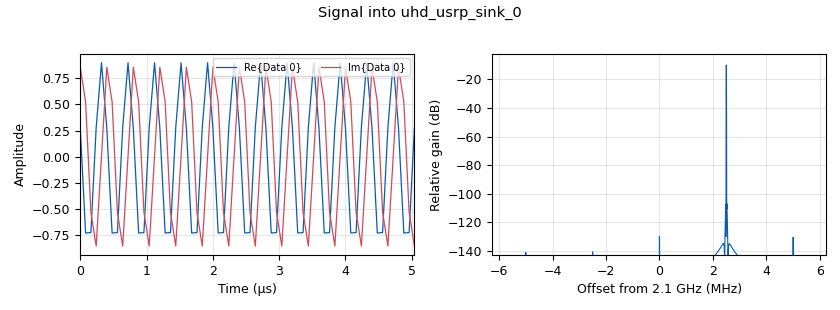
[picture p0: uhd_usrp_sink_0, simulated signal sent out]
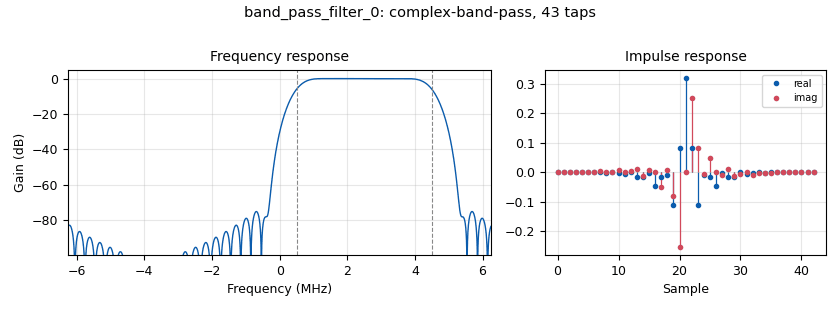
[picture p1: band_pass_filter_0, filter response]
options:
  parameters:
    author: guji
    generate_options: qt_gui
    id: AM_detect_N210
    output_language: python
    title: AM_detect_N210
  states: {}

blocks:
- name: digital_IF_freq
  id: variable
  parameters:
    comment: |-
      Tested: 
      2.5MHz for N210 and N310; 
      0MHz for X410.
    value: 2.5e6
  states: {}
- name: samp_rate
  id: variable
  parameters:
    value: 12.5e6
  states: {}
- name: analog_sig_source_x_0
  id: analog_sig_source_x
  parameters:
    amp: '0.9'
    freq: 2.5e6
    offset: '0'
    phase: '0'
    samp_rate: samp_rate
    type: complex
    waveform: analog.GR_COS_WAVE
  states: {}
- name: band_pass_filter_0
  id: band_pass_filter
  parameters:
    decim: '1'
    gain: '1'
    high_cutoff_freq: digital_IF_freq+2e6
    low_cutoff_freq: digital_IF_freq-2e6
    samp_rate: samp_rate
    type: fir_filter_ccc
    width: 1e6
    win: window.WIN_BLACKMAN
  states: {}
- name: blocks_complex_to_mag_0
  id: blocks_complex_to_mag
  parameters: {}
  states: {}
- name: blocks_skiphead_0
  id: blocks_skiphead
  parameters:
    num_items: int(2*samp_rate/125)
    type: float
  states: {}
- name: blocks_wavfile_sink_0
  id: blocks_wavfile_sink
  parameters:
    bits_per_sample1: FORMAT_DOUBLE
    file: /home/wtnt-slu-ue1/guji/Channel_Sounding_202601/long_tern_AM/N210_RX_amplitude_atten38dB_TXG31dB_RXG20dB.wav
    format: FORMAT_WAV
    samp_rate: int(samp_rate/125)
  states: {}
- name: qtgui_sink_x_0
  id: qtgui_sink_x
  parameters:
    bw: samp_rate/125
    fc: '0'
    fftsize: '32768'
    type: float
  states: {}
- name: qtgui_sink_x_5
  id: qtgui_sink_x
  parameters:
    bw: samp_rate
    fc: '0'
    fftsize: '1024'
    type: complex
  states: {}
- name: qtgui_time_sink_x_0
  id: qtgui_time_sink_x
  parameters:
    ctrlpanel: 'True'
    size: '65536'
    srate: samp_rate/125
    type: float
  states: {}
- name: rational_resampler_xxx_0
  id: rational_resampler_xxx
  parameters:
    decim: '125'
    interp: '1'
    type: fff
  states: {}
- name: uhd_usrp_sink_0
  id: uhd_usrp_sink
  parameters:
    ant0: '"TX/RX"'
    bw0: samp_rate
    center_freq0: 2100e6
    dev_addr: '"addr=192.168.10.2"'
    gain0: '31'
    samp_rate: samp_rate
    sync: none
    type: fc32
  states: {}
- name: uhd_usrp_source_0
  id: uhd_usrp_source
  parameters:
    ant0: '"TX/RX"'
    bw0: samp_rate
    center_freq0: uhd.uhd_python.tune_request_t(2100e6, 0e6)
    dev_addr: '"addr=192.168.10.3"'
    gain0: '20'
    samp_rate: samp_rate
    sync: none
    type: fc32
  states: {}

connections:
- [analog_sig_source_x_0, '0', uhd_usrp_sink_0, '0']
- [band_pass_filter_0, '0', blocks_complex_to_mag_0, '0']
- [band_pass_filter_0, '0', qtgui_sink_x_5, '0']
- [blocks_complex_to_mag_0, '0', rational_resampler_xxx_0, '0']
- [blocks_skiphead_0, '0', blocks_wavfile_sink_0, '0']
- [rational_resampler_xxx_0, '0', blocks_skiphead_0, '0']
- [rational_resampler_xxx_0, '0', qtgui_sink_x_0, '0']
- [rational_resampler_xxx_0, '0', qtgui_time_sink_x_0, '0']
- [uhd_usrp_source_0, '0', band_pass_filter_0, '0']

metadata:
  file_format: 1
